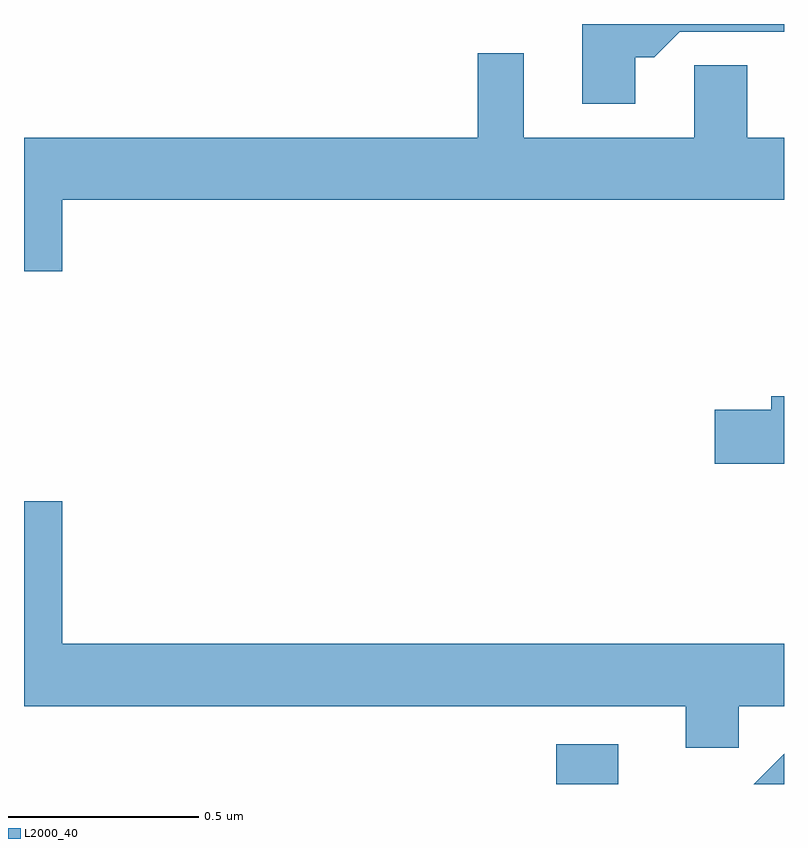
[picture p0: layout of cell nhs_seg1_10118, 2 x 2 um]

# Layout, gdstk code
import gdstk
lib = gdstk.Library(unit=1e-6, precision=1e-09)
def R(c, l, rs):  # rectangles x0, y0, x1, y1
    for r in rs: c.add(gdstk.rectangle(r[:2], r[2:], *l))
def P(c, l, *ps):  # polygons
    for p in ps: c.add(gdstk.Polygon(p, *l))
L2000_40 = (2000, 40)

nhs_seg1_10118 = lib.new_cell('nhs_seg1_10118')
R(nhs_seg1_10118, L2000_40, [(238.4,546.199,238.564,546.304)])
P(nhs_seg1_10118, L2000_40, [(238.609,548.111),(238.658,548.111),(238.725,548.178),(239,548.178),(239,548.199),(238.469,548.199),(238.469,547.989),(238.609,547.989)],
  [(237.1,547.736),(239,547.736),(239,547.9),(238.903,547.9),(238.903,548.09),(238.764,548.09),(238.764,547.9),(238.315,547.9),(238.315,548.122),(238.194,548.122),(238.194,547.9),(237,547.9),(237,547.548),(237.1,547.548)],
  [(239,547.22),(238.967,547.22),(238.967,547.184),(238.818,547.184),(238.818,547.042),(239,547.042)],
  [(238.881,546.404),(239,546.404),(239,546.568),(237.1,546.568),(237.1,546.943),(237,546.943),(237,546.404),(238.742,546.404),(238.742,546.294),(238.881,546.294)],
  [(239,546.278),(238.921,546.199),(239,546.199)])

lib.write_gds('nhs_seg1_10118.gds')
